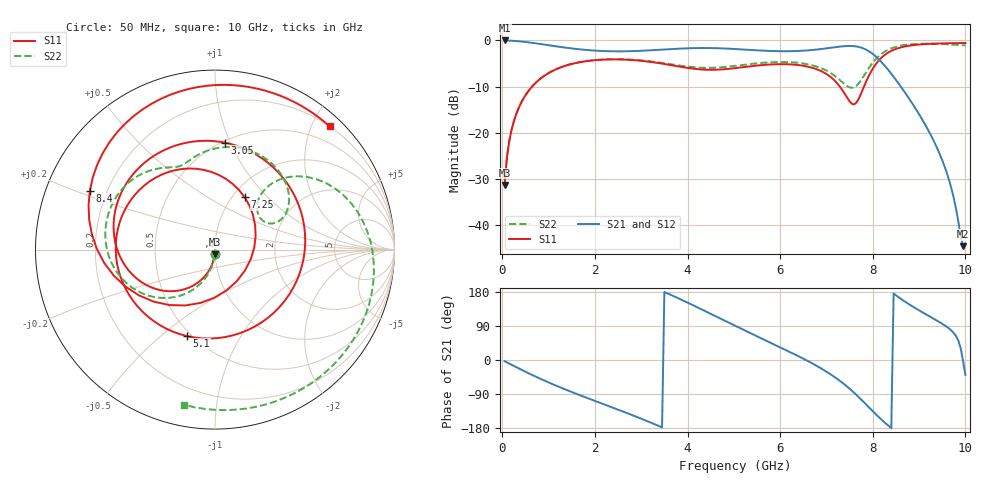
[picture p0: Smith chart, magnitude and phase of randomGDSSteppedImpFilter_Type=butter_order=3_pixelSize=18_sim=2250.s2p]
! freq	dB(S11)	phase(S11)	dB(S12)	phase(S12)
!  dB(S21)	phase(S21)	dB(S22)	phase(S22)
!S-par simulation data
#  GHz  S  DB  R 50
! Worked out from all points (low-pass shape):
!   200 points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, 50 MHz to 10 GHz, reference 50 ohm
!   highest |S21| = -0.01 dB at 50 MHz (marker M1); lowest = -44.5 dB at 9.95 GHz (marker M2)
!   |S21| within 3 dB of the highest: start of sweep to 8.01 GHz
!   lowest |S11| = -31.3 dB at 50 MHz (marker M3), VSWR 1.06, Z = 49.8 - j2.72 ohm
!   |S11| at or under -10 dB: start of sweep to 641.6 MHz; 7.289 GHz to 7.809 GHz (520.4 MHz wide, 6.89 % of centre)
!   |S22| runs from -31.3 to -0.7 dB; largest |S21 - S12| = 0
!   S11 on the Smith chart (normalised r, x): 50 MHz: 1.00, -0.05; 3.05 GHz: 0.51, +0.96; 5.1 GHz: 0.47, -0.61; 7.25 GHz: 1.14, +0.75; 8.4 GHz: 0.14, +0.22; 10 GHz: 0.20, +2.28
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0.05  -31.27 -93.6  -0.01 -3.2  -0.01 -3.2  -31.27 -93.1
0.2  -19.36 -104.1  -0.07 -12.6  -0.07 -12.6  -19.36 -102.0
0.5  -11.87 -124.2  -0.34 -31.0  -0.34 -31.0  -11.86 -118.9
1.05  -6.78 -158.2  -1.11 -61.9  -1.11 -61.9  -6.77 -146.7
1.75  -4.58 162.3  -2.01 -96.4  -2.01 -96.4  -4.56 -176.1
3.05  -4.46 84.7  -2.22 -157.3  -2.22 -157.3  -4.37 140.3
3.4  -4.93 58.6  -2.02 -175.3  -2.02 -175.3  -4.80 130.9
4.15  -6.14 -10.2  -1.66 142.7  -1.66 142.7  -5.81 116.2
5.05  -5.97 -103.4  -1.87 89.0  -1.87 89.0  -5.48 101.4
5.1  -5.91 -108.1  -1.90 86.0  -1.90 86.0  -5.42 100.2
5.9  -5.15 -175.8  -2.32 39.4  -2.32 39.4  -4.69 75.1
6.7  -5.94 121.3  -2.07 -9.4  -2.07 -9.4  -5.40 42.2
7.25  -9.50 60.4  -1.38 -51.4  -1.38 -51.4  -8.24 24.0
7.6  -13.82 -34.7  -1.25 -86.7  -1.25 -86.7  -10.15 39.6
7.85  -9.05 -118.1  -1.97 -116.7  -1.97 -116.7  -6.98 50.3
8.1  -4.69 -165.7  -3.80 -147.3  -3.80 -147.3  -3.68 38.2
8.35  -2.53 160.5  -6.58 -174.7  -6.58 -174.7  -1.92 18.8
8.4  -2.26 154.8  -7.21 -179.7  -7.21 -179.7  -1.71 14.8
9.05  -0.85 99.3  -16.80 127.4  -16.80 127.4  -0.73 -33.1
9.6  -0.62 66.8  -28.69 87.4  -28.69 87.4  -0.84 -71.4
9.95  -0.57 49.4  -44.50 -3.0  -44.50 -3.0  -1.05 -97.2
10  -0.56 47.1  -44.03 -39.1  -44.03 -39.1  -1.09 -101.1
